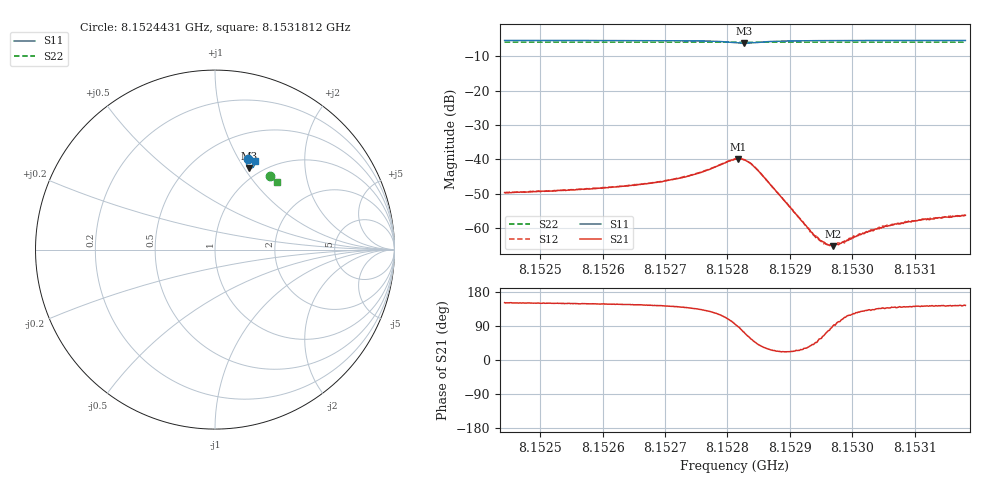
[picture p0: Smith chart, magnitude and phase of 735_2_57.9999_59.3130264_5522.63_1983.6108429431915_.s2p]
#  HZ  S  RI  R  50.00
! Rohde & Schwarz Vector Network Analyzer
! Rohde-Schwarz,ZNB20-2Port,1311601062101988,3.16
! Created: UTC 3/21/2024, 1:23:15 AM
! freq[Hz]  re:S11  im:S11  re:S21  im:S21  re:S12  im:S12  re:S22  im:S22
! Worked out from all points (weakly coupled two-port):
!   401 points, 8.1524431 GHz to 8.1531812 GHz, reference 50 ohm
!   highest |S21| = -39.89 dB at 8.1528177 GHz (marker M1); lowest = -65.4 dB at 8.152969 GHz (marker M2)
!   lowest |S11| = -6.1 dB at 8.1528269 GHz (marker M3), VSWR 2.95, Z = 43.8 + j52.7 ohm
!   |S11| at or under -10 dB: nowhere
!   |S22| runs from -5.9 to -5.8 dB; largest |S21 - S12| = 0.00037
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8.15244308e9  0.1854 0.5075  -0.00286 0.00156  -0.00285 0.00164  0.3077 0.408
8.15256672e9  0.1952 0.5037  -0.00312 0.00189  -0.0031 0.00194  0.314 0.4033
8.15262208e9  0.2003 0.5015  -0.00333 0.00215  -0.00329 0.0022  0.3167 0.401
8.15269036e9  0.2075 0.4973  -0.00375 0.00278  -0.00374 0.00286  0.3201 0.3981
8.15274941e9  0.2158 0.489  -0.00433 0.00428  -0.00433 0.00442  0.323 0.3954
8.15281215e9  0.2084 0.4564  -0.00081 0.00995  -0.000588 0.0102  0.3252 0.3917
8.15281769e9  0.2021 0.4541  0.000449 0.0101  0.000822 0.0101  0.3252 0.3916
8.15282691e9  0.1898 0.4551  0.00291 0.00943  0.00317 0.00921  0.325 0.3916
8.15283614e9  0.1802 0.4624  0.0047 0.0075  0.00493 0.00728  0.3253 0.3914
8.1528509e9  0.176 0.4779  0.00506 0.00417  0.00514 0.00411  0.3261 0.3915
8.15290073e9  0.1916 0.4967  0.00183 0.000754  0.00189 0.000724  0.3293 0.3898
8.15293579e9  0.1995 0.4981  0.000643 0.000557  0.000642 0.000552  0.3311 0.3884
8.15294502e9  0.2011 0.4981  0.000455 0.000559  0.000459 0.000522  0.3316 0.3881
8.15295424e9  0.2026 0.4981  0.00027 0.000557  0.000261 0.000525  0.3321 0.3876
8.15295978e9  0.2034 0.4979  0.000155 0.000544  0.000173 0.000551  0.3324 0.3873
8.15296901e9  0.2049 0.4978  1.76e-06 0.000539  3.37e-05 0.000561  0.3328 0.3871
8.15298377e9  0.2069 0.4976  -0.000181 0.000587  -0.000204 0.000573  0.3336 0.3863
8.152993e9  0.208 0.4974  -0.0003 0.000583  -0.000267 0.000596  0.3339 0.386
8.15302806e9  0.2118 0.4964  -0.0006 0.00065  -0.000565 0.000706  0.3358 0.3845
8.15305943e9  0.2148 0.4956  -0.000787 0.000731  -0.000777 0.000757  0.3372 0.3831
8.15311479e9  0.2196 0.4941  -0.00105 0.000808  -0.00103 0.000833  0.3399 0.3808
8.15318122e9  0.2247 0.492  -0.00123 0.000892  -0.00124 0.000932  0.3429 0.3779
